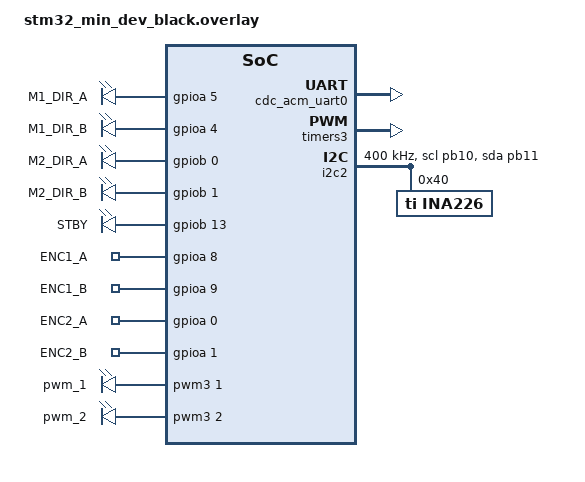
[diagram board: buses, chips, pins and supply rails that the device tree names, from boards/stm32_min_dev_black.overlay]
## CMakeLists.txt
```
# SPDX-License-Identifier: Apache-2.0

cmake_minimum_required(VERSION 3.20.0)

find_package(Zephyr REQUIRED HINTS $ENV{ZEPHYR_BASE})
project(amanita-controller)

# Include the USB common utilities (if needed)
include(${ZEPHYR_BASE}/samples/subsys/usb/common/common.cmake)

# Add the include path for Pid-C headers
target_include_directories(app PRIVATE ${CMAKE_CURRENT_SOURCE_DIR}/Pid-C/include)

# Add Pid-C source files to the app build
file(GLOB pid_c_sources ${CMAKE_CURRENT_SOURCE_DIR}/Pid-C/src/*.c)

# Collect all your application sources
file(GLOB app_sources src/*.c)

# Add all sources (app + Pid-C) to the target
target_sources(app PRIVATE ${app_sources} ${pid_c_sources})
```

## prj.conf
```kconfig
#
# Copyright (c) 2024 Branilson Luiz
# Author: Branilson Luiz
#
CONFIG_LOG=y
CONFIG_GPIO=y
CONFIG_PWM=y
CONFIG_I2C=y
CONFIG_SENSOR=y
CONFIG_SERIAL=y
CONFIG_PWM_LOG_LEVEL_DBG=y
CONFIG_USB_DEVICE_STACK=y
CONFIG_USB_DEVICE_PRODUCT="amanita-controller"
CONFIG_USB_DEVICE_MANUFACTURER="BL-LABS"
CONFIG_USB_DEVICE_PID=0x0001
CONFIG_USB_DEVICE_VID=4440
CONFIG_USB_CDC_ACM_LOG_LEVEL_ERR=y
CONFIG_USB_DRIVER_LOG_LEVEL_ERR=y
CONFIG_USB_DEVICE_LOG_LEVEL_ERR=y
CONFIG_SENSOR_LOG_LEVEL_DBG=y
CONFIG_UART_INTERRUPT_DRIVEN=y
CONFIG_UART_LINE_CTRL=y
CONFIG_UART_USE_RUNTIME_CONFIGURE=y
CONFIG_USB_DEVICE_INITIALIZE_AT_BOOT=n
CONFIG_CBPRINTF_FP_SUPPORT=y
```

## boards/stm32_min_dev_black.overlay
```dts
/*
 * Copyright (c) 2024 Branilson Luiz
 *
 * SPDX-License-Identifier: Apache-2.0
 */
#include <zephyr/dt-bindings/pinctrl/stm32-pinctrl.h>
#include <zephyr/dt-bindings/sensor/qdec_stm32.h>

/ {
	chosen {
		zephyr,console = &usart2; //cdc_acm_uart0
	};

	gpio_outputs {
		compatible = "gpio-leds";
		m1_dir_a: m1_dir_a {
			gpios = <&gpioa 5 GPIO_ACTIVE_HIGH>;
			label = "M1_DIR_A";
		};
		m1_dir_b: m1_dir_b {
			gpios = <&gpioa 4 GPIO_ACTIVE_HIGH>;
			label = "M1_DIR_B";
		};
		m2_dir_a: m2_dir_a {
			gpios = <&gpiob 0 GPIO_ACTIVE_HIGH>;
			label = "M2_DIR_A";
		};
		m2_dir_b: m2_dir_b {
			gpios = <&gpiob 1 GPIO_ACTIVE_HIGH>;
			label = "M2_DIR_B";
		};
		motors_stby: motors_stby {
			gpios = <&gpiob 13 GPIO_ACTIVE_HIGH>;
			label = "STBY";
		};
	};

	gpio_encoders {
		compatible = "gpio-keys";
		enc1_a: enc1_a {
			label = "ENC1_A";
			gpios = <&gpioa 8 0>;
		};
		enc1_b: enc1_b {
			label = "ENC1_B";
			gpios = <&gpioa 9 0>;
		};
		enc2_a: enc2_a {
			label = "ENC2_A";
			gpios = <&gpioa 0 0>;
		};
		enc2_b: enc2_b {
			label = "ENC2_B";
			gpios = <&gpioa 1 0>;
		};
	};

	pwm_motors {
		compatible = "pwm-leds";
		pwm_1: pwm_1 {
			pwms = <&pwm3 1 50000 PWM_POLARITY_NORMAL>; /*channel =1 / period =50000 ns / flags*/
		};
		pwm_2: pwm_2 {
			pwms = <&pwm3 2 50000 PWM_POLARITY_NORMAL>;
		};
	};

	aliases {
		pwm1 = &pwm_1;
		pwm2 = &pwm_2;
		led0 = &led;
		enc1a = &enc1_a;
		enc1b = &enc1_b;
		enc2a = &enc2_a;
		enc2b = &enc2_b;
		m1fwd = &m1_dir_a;
		m1bck = &m1_dir_b;
		m2fwd = &m2_dir_a;
		m2bck = &m2_dir_b;
		stby = &motors_stby;
	};
};

&zephyr_udc0 {
	cdc_acm_uart0: cdc_acm_uart0{
		compatible = "zephyr,cdc-acm-uart";
	};

};

&timers3{
	status = "okay";
	
	pwm3: pwm {
		status = "okay";
		pinctrl-0 = <&tim3_ch1_pwm_out_pa6 &tim3_ch2_pwm_out_pa7>;
		pinctrl-names = "default";
	};
};

&i2c2 {
	status = "okay";
	pinctrl-0 = <&i2c2_scl_pb10 &i2c2_sda_pb11>;
	pinctrl-names = "default";
	clock-frequency = <I2C_BITRATE_FAST>;

	ina226@40 {
		status = "okay";
		compatible = "ti,ina226";
		reg = <0x40>;
		rshunt-micro-ohms = <10000>;
		current-lsb-microamps = <250>;
	};
};

&usart1 {
	status = "disabled";
};

&usart3 {
	status = "disabled";
};

&i2c1 {
	status = "disabled";
};

&pwm1 {
	status = "disabled";
};

&adc1 {
	status = "disabled";
};

&spi1 {
	status = "disabled";
};

&spi2 {
	status = "disabled";
};
```

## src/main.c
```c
/*
 * Copyright (c) 2024 Branilson Luiz
 */

/**
 * @file
 * @brief Dual motor controller for small robots using DC brushed motors.
 *
 * This controller uses a protocol based on simple ASCII messags exchanged via USB USB CDC ACM class driver.
 * The received data is processed and responses are returned to the serial port.
 * See the runCommand() function for communication details.
 */

#include <stdio.h>
#include <string.h>
#include <stdlib.h>

#include <sample_usbd.h>
#include <zephyr/kernel.h>
#include <zephyr/device.h>
#include <zephyr/drivers/uart.h>
#include <zephyr/drivers/pwm.h>
#include <zephyr/drivers/sensor.h>
#include <zephyr/sys/cbprintf.h>
#include <zephyr/usb/usb_device.h>
#include <zephyr/usb/usbd.h>
#include <zephyr/logging/log.h>

#include "qdenc.h"
#include "hbridge.h"
#include "Pid.h"

#define PWM_PERIOD_NSEC 50000U	/* Period = 50us ==> Frequency = 20 kHz*/
#define CONTROL_PERIOD_MSEC 20U /* in milliseconds*/
#define HZ (1000U / CONTROL_PERIOD_MSEC)
#define STACK_SIZE 500U
#define PRIORITY 5U
#define SHORT_SLEEP_TIME_MS 50U
#define SLEEP_TIME_MS 1950U
#define MAX_PWM 1000
#define MIN_PWM (-1000)
#define KP 0.012F
#define KI 0.008F
#define KD 0.004F
#define MSG_SIZE 32
enum motors
{
	M1 = 0,
	M2
};

LOG_MODULE_REGISTER(amanita_controller, LOG_LEVEL_INF);

void blink_led();
int init_encoder_irqs();
void print_uart(char *buf);
void runCommand(char *args);
void update_motors(struct k_timer *tim);
static inline void print_baudrate(const struct device *dev);
void serial_cb(const struct device *dev, void *user_data);

const struct device *const uart_dev = DEVICE_DT_GET_ONE(zephyr_cdc_acm_uart);
static const struct gpio_dt_spec led = GPIO_DT_SPEC_GET(DT_ALIAS(led0), gpios);
static const struct gpio_dt_spec enc1a_spec = GPIO_DT_SPEC_GET_OR(DT_ALIAS(enc1a), gpios, {0});
static const struct gpio_dt_spec enc1b_spec = GPIO_DT_SPEC_GET_OR(DT_ALIAS(enc1b), gpios, {0});
static const struct gpio_dt_spec enc2a_spec = GPIO_DT_SPEC_GET_OR(DT_ALIAS(enc2a), gpios, {0});
static const struct gpio_dt_spec enc2b_spec = GPIO_DT_SPEC_GET_OR(DT_ALIAS(enc2b), gpios, {0});
static struct qdencoder enc1, enc2;
static struct gpio_callback enc1a_cb, enc1b_cb, enc2a_cb, enc2b_cb;
static const struct gpio_dt_spec m1_forward_spec = GPIO_DT_SPEC_GET(DT_ALIAS(m1fwd), gpios);
static const struct gpio_dt_spec m1_backward_spec = GPIO_DT_SPEC_GET(DT_ALIAS(m1bck), gpios);
static const struct gpio_dt_spec m2_forward_spec = GPIO_DT_SPEC_GET(DT_ALIAS(m2fwd), gpios);
static const struct gpio_dt_spec m2_backward_spec = GPIO_DT_SPEC_GET(DT_ALIAS(m2bck), gpios);
static struct Hbridge motor1, motor2;
static const struct pwm_dt_spec pwm1_dt_spec = PWM_DT_SPEC_GET(DT_ALIAS(pwm1));
static const struct pwm_dt_spec pwm2_dt_spec = PWM_DT_SPEC_GET(DT_ALIAS(pwm2));
const struct device *const ina_dev = DEVICE_DT_GET_ONE(ti_ina226);
struct sensor_value v_bus, power, current;
pidData_t control1, control2;
static bool is_control = false, speed_debug = false;
int reverse[] = {-1, 1}; /* -1 to reverse / 1 to direct */
int pwm_values[2], speeds[2], last_counts[2];
struct k_timer control_loop;
static char rx_buf[MSG_SIZE];
static int rx_buf_pos;

K_MSGQ_DEFINE(uart_msgq, MSG_SIZE, 10, 1);

K_THREAD_DEFINE(blink_led_thread, STACK_SIZE, blink_led, NULL, NULL, NULL,
				7, 0, 0);
K_TIMER_DEFINE(control_loop, update_motors, NULL);

int main(void)
{
	int ret;

	if (!device_is_ready(uart_dev))
	{
		LOG_ERR("CDC ACM device not ready");
		return 0;
	}

	ret = usb_enable(NULL);

	if (ret != 0)
	{
		LOG_ERR("Failed to enable USB");
		return 0;
	}

	if (!pwm_is_ready_dt(&pwm1_dt_spec))
	{
		LOG_ERR("Error: PWM device %s is not ready\n",
				pwm1_dt_spec.dev->name);
	}

	if (!pwm_is_ready_dt(&pwm2_dt_spec))
	{
		LOG_ERR("Error: PWM device %s is not ready\n",
				pwm2_dt_spec.dev->name);
	}

	if (hbridge_init(&motor1, &pwm1_dt_spec, &m1_forward_spec, &m1_backward_spec,
					 0, MAX_PWM, PWM_PERIOD_NSEC) < 0)
	{
		LOG_ERR("Failed to enable H Bridge #1");
	}

	if (hbridge_init(&motor2, &pwm2_dt_spec, &m2_forward_spec, &m2_backward_spec,
					 0, MAX_PWM, PWM_PERIOD_NSEC) < 0)
	{
		LOG_ERR("Failed to enable H Bridge #2");
	}

	if (!device_is_ready(ina_dev))
	{
		LOG_ERR("Device %s is not ready.\n", ina_dev->name);
	}

	init_encoder(&enc1, 1);
	init_encoder(&enc2, 1);
	init_encoder_irqs();
	Pid_Init(&control1, KP, KI, KD, PID_DIRECT, CONTROL_PERIOD_MSEC);
	Pid_Init(&control2, KP, KI, KD, PID_DIRECT, CONTROL_PERIOD_MSEC);
	Pid_SetOutputLimits(&control1, (double)MIN_PWM, (double)MAX_PWM);
	Pid_SetOutputLimits(&control2, (double)MIN_PWM, (double)MAX_PWM);
	k_timer_start(&control_loop, K_MSEC(CONTROL_PERIOD_MSEC), K_MSEC(CONTROL_PERIOD_MSEC));

	LOG_INF("Wait for DTR");
	while (true)
	{
		uint32_t dtr = 0U;

		uart_line_ctrl_get(uart_dev, UART_LINE_CTRL_DTR, &dtr);
		if (dtr)
		{
			break;
		}
		else
		{
			k_sleep(K_MSEC(100)); /* Give CPU resources to low priority threads. */
		}
	}
	LOG_INF("DTR set");

	ret = uart_irq_callback_user_data_set(uart_dev, serial_cb, NULL);
	if (ret < 0)
	{
		if (ret == -ENOTSUP)
		{
			LOG_ERR("Interrupt-driven UART API support not enabled\n");
		}
		else if (ret == -ENOSYS)
		{
			LOG_ERR("UART device does not support interrupt-driven API\n");
		}
		else
		{
			LOG_ERR("Error setting UART callback: %d\n", ret);
		}
		return 0;
	}
	uart_irq_rx_enable(uart_dev);

	LOG_INF("\n\r***  BL-Labs Amanita Controller running on %s ***\n\n", CONFIG_BOARD);
	print_baudrate(uart_dev);
	LOG_INF("\n\rEnter a command and press enter or h <enter> for help.\n");

	char argv[MSG_SIZE];

	while (k_msgq_get(&uart_msgq, &argv, K_FOREVER) == 0)
	{
		runCommand(argv);
	}
	return 0;
}

void runCommand(char *args)
{
	char *argv = args;
	bool valid = true;
	int argc = 0;
	char *cmd, *arg1, *arg2, *arg3;
	cmd = arg1 = arg2 = arg3 = NULL;
	char *token;
	char msg[MSG_SIZE];

	while ((token = strtok_r(argv, " ", &argv)))
	{
		if (argc == 0)
		{
			cmd = token;
			argc++;
		}
		else if (cmd[0] == 'o' || cmd[0] == 'm')
		{
			if (argc == 1)
				arg1 = token;
			else if (argc == 2)
				arg2 = token;
			else if (argc > 2)
				break;
			argc++;
		}
		else if (cmd[0] == 'u')
		{
			if (argc == 1)
				arg1 = token;
			else if (argc == 2)
				arg2 = token;
			else if (argc == 3)
				arg3 = token;
			else if (argc > 3)
				break;
			argc++;
		}
		else if (strpbrk(cmd, "hbersgdp"))
			break;
		else
		{
			valid = false;
			break;
		}
	}
	if ((cmd[0] == 'o' || cmd[0] == 'm') && argc < 3)
		valid = false;
	if (cmd[0] == 'u' && argc < 4)
		valid = false;

	if (!valid)
	{
		print_uart("ERR\n");
		return;
	}

	switch (cmd[0])
	{
	case 'h':
		print_uart("\r\t h <enter> to print this help.\r\n");
		print_uart("\t b <enter> to get baudrate.\r\n");
		print_uart("\t e <enter> to get encoder counts/s.\r\n");
		print_uart("\t r <enter> to reset encoder counts.\r\n");
		print_uart("\t s <enter> to get motor speeds in ticks/s.\r\n");
		print_uart("\t g <enter> to get PID controller gains.\r\n");
		print_uart("\t d <enter> to toggle speed debug flag.\r\n");
		print_uart("\t p <enter> to get power(W), Voltage(V), and Current(A).\r\n");
		print_uart("\t m nn nn <enter> to set control speeds in ticks/s.\r\n");
		print_uart("\t o nn nn <enter> to set pwm speeds.\r\n");
		print_uart("\t u nn nn nn <enter> to update PID gains.\r\n");
		print_uart("\t nn is an integer number.\r\n");
		break;
	case 'b':
		print_baudrate(uart_dev);
		break;
	case 'e':
		snprintf(msg, MSG_SIZE, "e %lli %lli\n", reverse[M1] * enc1.count, reverse[M2] * enc2.count);
		break;
	case 'r':
		init_encoder(&enc1, 1);
		init_encoder(&enc2, 1);
		snprintf(msg, MSG_SIZE, "e %lli %lli\n", reverse[M1] * enc1.count, reverse[M2] * enc2.count);
		break;
	case 's':
		snprintf(msg, MSG_SIZE, "s %i %i\n", speeds[M1], speeds[M2]);
		print_uart(msg);
		break;
	case 'd':
		speed_debug = !speed_debug;
		if (speed_debug)
			snprintf(msg, MSG_SIZE, "DBG\n");
		else
			snprintf(msg, MSG_SIZE, "NDBG\n");
		break;
	case 'g':
		snprintf(msg, MSG_SIZE, "g1 %f %f %f\n", Pid_GetKp(&control1), Pid_GetKi(&control1), Pid_GetKd(&control1));
		break;
	case 'm':
		int m1 = atoi(arg1), m2 = atoi(arg2);
		Pid_SetSetPoint(&control1, m1);
		Pid_SetSetPoint(&control2, m2);
		is_control = true;
		snprintf(msg, MSG_SIZE, "m %i %i\n", m1, m2);
		break;
	case 'o':
		int o1 = atoi(arg1), o2 = atoi(arg2);
		pwm_values[M1] = o1;
		pwm_values[M2] = o2;
		snprintf(msg, MSG_SIZE, "o %i %i\n", o1, o2);
		is_control = false;
		break;
	case 'p':
		if (sensor_sample_fetch(ina_dev))
			LOG_ERR("Could not fetch sensor data.\n");
		sensor_channel_get(ina_dev, SENSOR_CHAN_VOLTAGE, &v_bus);
		sensor_channel_get(ina_dev, SENSOR_CHAN_POWER, &power);
		sensor_channel_get(ina_dev, SENSOR_CHAN_CURRENT, &current);
		snprintf(msg, MSG_SIZE, "p %f %f %f\n", sensor_value_to_double(&v_bus),
				 sensor_value_to_double(&power),
				 sensor_value_to_double(&current));
		break;
	case 'u':
		double kp = atof(arg1), ki = atof(arg2), kd = atof(arg3);
		Pid_SetTunings(&control1, kp, ki, kd);
		Pid_SetTunings(&control2, kp, ki, kd);
		snprintf(msg, MSG_SIZE, "u %f %f %f\n", kp, ki, kd);
		break;
	default:
		print_uart("INV\n"); /* It shall never gets here. */
		break;
	}
	print_uart(msg);
}

static inline void print_baudrate(const struct device *dev)
{
	uint32_t baudrate;
	int ret;

	ret = uart_line_ctrl_get(dev, UART_LINE_CTRL_BAUD_RATE, &baudrate);
	if (ret)
	{
		LOG_WRN("Failed to get baudrate, ret code %d", ret);
	}
	else
	{
		LOG_INF("Baudrate %u", baudrate);
	}
}

void update_motors(struct k_timer *tim)
{
	char msg[MSG_SIZE];
	speeds[M1] = reverse[M1] * (enc1.count - last_counts[M1]) * HZ; /* speeds in ticks/sec */
	speeds[M2] = reverse[M2] * (enc2.count - last_counts[M2]) * HZ;
	last_counts[M1] = enc1.count;
	last_counts[M2] = enc2.count;
	if (speed_debug)
	{
		snprintf(msg, MSG_SIZE, "s %i %i\n", speeds[M1], speeds[M2]);
		print_uart(msg);
	}
	if (is_control)
	{
		Pid_Run(&control1, (float)speeds[M1]);
		Pid_Run(&control2, (float)speeds[M2]);
		run(&motor1, reverse[M1] * (int)control1.output);
		run(&motor2, reverse[M2] * (int)control2.output);
	}
	else
	{
		run(&motor1, reverse[M1] * pwm_values[M1]);
		run(&motor2, reverse[M2] * pwm_values[M2]);
	}
}

void blink_led()
{
	int ret;

	if (!device_is_ready(led.port))
	{
		return;
	}

	ret = gpio_pin_configure_dt(&led, GPIO_OUTPUT_ACTIVE);
	if (ret < 0)
	{
		return;
	}

	bool led_is_on = false;

	while (1)
	{
		ret = gpio_pin_set(led.port, led.pin, (int)led_is_on);
		led_is_on = !led_is_on;
		if (led_is_on)
		{
			k_msleep(SLEEP_TIME_MS);
		}
		else
		{
			k_msleep(SHORT_SLEEP_TIME_MS);
		}
	}
}

void enc1_callback(const struct device *dev, struct gpio_callback *cb, gpio_port_pins_t mask)
{
	compute_encoder(&enc1);
}

void enc2_callback(const struct device *dev, struct gpio_callback *cb, gpio_port_pins_t mask)
{
	compute_encoder(&enc2);
}

int init_encoder_irqs()
{
	int ret;
	enc1.channel_a = &enc1a_spec;
	enc1.channel_b = &enc1b_spec;
	enc2.channel_a = &enc2a_spec;
	enc2.channel_b = &enc2b_spec;

	ret = gpio_pin_configure_dt(&enc1a_spec, GPIO_INPUT | GPIO_PULL_UP);
	ret += gpio_pin_configure_dt(&enc1b_spec, GPIO_INPUT | GPIO_PULL_UP);
	ret += gpio_pin_configure_dt(&enc2a_spec, GPIO_INPUT | GPIO_PULL_UP);
	ret += gpio_pin_configure_dt(&enc2b_spec, GPIO_INPUT | GPIO_PULL_UP);
	ret += gpio_pin_interrupt_configure_dt(&enc1a_spec, GPIO_INT_EDGE_BOTH);
	ret += gpio_pin_interrupt_configure_dt(&enc1b_spec, GPIO_INT_EDGE_BOTH);
	ret += gpio_pin_interrupt_configure_dt(&enc2a_spec, GPIO_INT_EDGE_BOTH);
	ret += gpio_pin_interrupt_configure_dt(&enc2b_spec, GPIO_INT_EDGE_BOTH);
	gpio_init_callback(&enc1a_cb, enc1_callback, BIT(enc1a_spec.pin));
	gpio_init_callback(&enc1b_cb, enc1_callback, BIT(enc1b_spec.pin));
	gpio_init_callback(&enc2a_cb, enc2_callback, BIT(enc2a_spec.pin));
	gpio_init_callback(&enc2b_cb, enc2_callback, BIT(enc2b_spec.pin));
	ret += gpio_add_callback(enc1a_spec.port, &enc1a_cb);
	ret += gpio_add_callback(enc1b_spec.port, &enc1b_cb);
	ret += gpio_add_callback(enc2a_spec.port, &enc2a_cb);
	ret += gpio_add_callback(enc2b_spec.port, &enc2b_cb);
	return ret;
}

void print_uart(char *buf)
{
	int msg_len = strlen(buf);

	for (int i = 0; i < msg_len; i++)
	{
		uart_poll_out(uart_dev, buf[i]);
	}
}

void serial_cb(const struct device *dev, void *user_data)
{
	uint8_t c;

	if (!uart_irq_update(uart_dev))
	{
		return;
	}

	if (!uart_irq_rx_ready(uart_dev))
	{
		return;
	}

	/* read until FIFO empty */
	while (uart_fifo_read(uart_dev, &c, 1) == 1)
	{
		if ((c == '\n' || c == '\r') && rx_buf_pos > 0)
		{
			/* terminate string */
			rx_buf[rx_buf_pos] = '\0';

			/* if queue is full, message is silently dropped */
			k_msgq_put(&uart_msgq, &rx_buf, K_NO_WAIT);

			/* reset the buffer (it was copied to the msgq) */
			rx_buf_pos = 0;
		}
		else if (rx_buf_pos < (sizeof(rx_buf) - 1))
		{
			rx_buf[rx_buf_pos++] = c;
		}
		/* else: characters beyond buffer size are dropped */
	}
}
```

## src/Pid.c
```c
//!
//! @file 		Pid.c
//! @author 	Geoffrey Hunter <gbmhunter@gmail.com> (www.cladlabs.com)
//! @edited 	n/a
//! @date 		09/10/2012
//! @brief 		Generic PID controller designed for microcontrollers that supports multiple control loops.
//! @details
//!				See the README in the root dir for more info.

//===============================================================================================//
//=========================================== GUARDS ============================================//
//===============================================================================================//

#ifdef __cplusplus
extern "C" {
#endif

//===============================================================================================//
//========================================= INCLUDES ============================================//
//===============================================================================================//

// GCC
#include <math.h>
#include <stdio.h>
#include <stdlib.h>

// User
#include "Pid.h"

//===============================================================================================//
//================================== PRECOMPILER CHECKS =========================================//
//===============================================================================================//

#ifndef configPRINT_DEBUG_PID
	#warning configPRINT_DEBUG_PID is not defined.
#endif

//===============================================================================================//
//=================================== PRIVATE TYPEDEF's =========================================//
//===============================================================================================//

// none

//===============================================================================================//
//==================================== PRIVATE VARIABLES ========================================//
//===============================================================================================//

// none (all variables are held in structure passed into PID functions).

//===============================================================================================//
//====================================  FUNCTION PROTOTYPES =====================================//
//===============================================================================================//



//===============================================================================================//
//===================================== PUBLIC FUNCTIONS ========================================//
//===============================================================================================//

// See Doxygen documentation or function declarations in Pid.h for descriptions

void Pid_Init(
	pidData_t *pidData,
	double kp,
	double ki,
	double kd,
	ctrlDir_t controllerDir,
	uint32_t samplePeriodMs)
{

	Pid_SetOutputLimits(pidData, 0.0, 2000.0);		

    pidData->samplePeriodMs = samplePeriodMs;				// Default controller sample time is 0.1 seconds

    Pid_SetControllerDirection(pidData, controllerDir);
    Pid_SetTunings(pidData, kp, ki, kd);
	pidData->prevInput = 0;
	pidData->prevOutput = 0;
		
}
 

void Pid_Run(pidData_t *pidData, double input)
{
	// Compute all the working error variables
	//double input = *_input;
	
	pidData->error = pidData->setPoint - input;
	
	// Integral calcs
	
	pidData->iTerm += (pidData->zKi * pidData->error);
	// Perform min/max bound checking on integral term
	if(pidData->iTerm > pidData->outMax) 
	pidData->iTerm = pidData->outMax;
	else if(pidData->iTerm < pidData->outMin)
	pidData->iTerm = pidData->outMin;

	pidData->inputChange = (input - pidData->prevInput);
	pidData->dTerm = -pidData->zKd*pidData->inputChange;

	// Compute PID Output
	pidData->output = pidData->prevOutput + pidData->zKp*pidData->error + pidData->iTerm + pidData->dTerm;

	if(pidData->output > pidData->outMax) 
		pidData->output = pidData->outMax;
	else if(pidData->output < pidData->outMin)
		pidData->output = pidData->outMin;
	
	// Remember input value to next call
	pidData->prevInput = input;
	// Remember last output for next call
	pidData->prevOutput = pidData->output;
	  
}

void Pid_SetSetPoint(pidData_t *pidData, double setPoint)
{
	pidData->setPoint = setPoint;
}


void Pid_SetTunings(pidData_t *pidData, double kp, double ki, double kd)
{
   	if (kp<0 || ki<0 || kd<0) 
   		return;
 
 	pidData->actualKp = kp; 
	pidData->actualKi = ki;
	pidData->actualKd = kd;
   
   double sampleTimeInSec = ((double)pidData->samplePeriodMs)/1000.0;  
   
   // Calculate time-step-scaled PID terms
   pidData->zKp = kp;
   pidData->zKi = ki * sampleTimeInSec;
   pidData->zKd = kd / sampleTimeInSec;
 
  if(pidData->controllerDir == PID_REVERSE)
   {
      pidData->zKp = (0 - pidData->zKp);
      pidData->zKi = (0 - pidData->zKi);
      pidData->zKd = (0 - pidData->zKd);
   }
}


void Pid_SetSamplePeriod(pidData_t *pidData, uint32_t newSamplePeriodMs)
{
   if (newSamplePeriodMs > 0)
   {
      double ratio  = (double)newSamplePeriodMs
                      / (double)pidData->samplePeriodMs;
      pidData->zKi *= ratio;
      pidData->zKd /= ratio;
      pidData->samplePeriodMs = newSamplePeriodMs;
   }
}
 
void Pid_SetOutputLimits(pidData_t *pidData, double min, double max)
{
	if(min >= max) 
   		return;
   	pidData->outMin = min;
   	pidData->outMax = max;
 
}


void Pid_SetControllerDirection(pidData_t *pidData, ctrlDir_t controllerDir)
{
	if(controllerDir != pidData->controllerDir)
	{
   		// Invert control constants
		pidData->zKp = (0 - pidData->zKp);
    	pidData->zKi = (0 - pidData->zKi);
    	pidData->zKd = (0 - pidData->zKd);
	}   
   pidData->controllerDir = controllerDir;
}
 

double Pid_GetKp(pidData_t *pidData)
{ 
	return pidData->actualKp;
}


double Pid_GetKi(pidData_t *pidData)
{ 
	return pidData->actualKi;
}


double Pid_GetKd(pidData_t *pidData)
{ 
	return pidData->actualKd;
}


ctrlDir_t Pid_GetDirection(pidData_t *pidData)
{ 
	return pidData->controllerDir;
}


double Pid_GetError(pidData_t *pidData)
{
	return pidData->error;
}


double Pid_GetDTerm(pidData_t *pidData)
{
	return pidData->dTerm;
}


double Pid_GetInputChange(pidData_t *pidData)
{
	return pidData->inputChange;
}

#ifdef __cplusplus
} // extern "C" {
#endif

// EOF
```

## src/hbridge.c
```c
/*
 * Copyright (c) 2024 Branilson Luiz
 *
 * Library inspired on the L298N Arduino Library from Andrea Lombardo.
 * available at https://github.com/AndreaLombardo/L298N
 *
 */

#include "hbridge.h"
#include <zephyr/logging/log.h>

LOG_MODULE_DECLARE(amanita_controller);

int hbridge_init(struct Hbridge *motor, const struct pwm_dt_spec *pwm_spec,
                 const struct gpio_dt_spec *pin_forward, const struct gpio_dt_spec *pin_backward, 
                 int pwm_min, int pwm_max, int period)
{
    // if (!pwm_is_ready_dt(pwm_spec))
    // {
    //     LOG_ERR("Error: PWM device %s is not ready\n", pwm_spec.dev->name);
    //     return -1;
    // }
    motor->pwm_spec = pwm_spec;
    motor->max_pwm = pwm_max;
    motor->min_pwm = pwm_min;

    if (!device_is_ready(pin_forward->port))
    {
        LOG_ERR("Error: GPIO device %s is not ready\n", pin_forward->port->name);
        return -2;
    }
    motor->forward_pin = pin_forward;

    if (!device_is_ready(pin_backward->port))
    {
        LOG_ERR("Error: GPIO device %s is not ready\n", pin_backward->port->name);
        return -2;
    }
    motor->backward_pin = pin_backward;

    int ret;
    ret = gpio_pin_configure_dt(motor->forward_pin, GPIO_OUTPUT_INACTIVE);
    ret += gpio_pin_configure_dt(motor->backward_pin, GPIO_OUTPUT_INACTIVE);
    if (ret < 0)
    {
        LOG_ERR("Error: GPIO direction device configuration is not possible\n");
        return ret;
    }

    ret = gpio_pin_set(pin_forward->port, pin_forward->pin, 0);
    ret += gpio_pin_set(pin_backward->port, pin_backward->pin, 0);
    if (ret < 0)
    {
        LOG_ERR("Error: GPIO direction definition is not possible\n");
        return ret;
    }

    motor->pwm_period = period;
    stop(motor);
    motor->is_moving = false;
    motor->is_init = true;
    return 0;
}

int run(struct Hbridge *motor, int pwm)
{
    if (motor->is_init && pwm >= 0)
    {
        forward(motor, pwm);
        return 0;
    }
    if (motor->is_init && pwm < 0)
    {
        backward(motor, -pwm);
        return 0;
    }
    else
    {
        LOG_ERR("Error: motor not initiated. Run hbridge_init() before.\n");
        return -3;
    }
}

int forward(struct Hbridge *motor, int pwm)
{
    int ret;
    if (pwm < motor->min_pwm || pwm > motor->max_pwm)
    {
        LOG_ERR("Error: pwm value must be within %d and %d\n", motor->min_pwm, motor->max_pwm);
        return -4;
    }
    else
    {
        motor->dir = FORWARD;
        motor->is_moving = true;
        pwm_set_dt(motor->pwm_spec, motor->pwm_period, pwm * motor->pwm_period / 1000);
        ret = gpio_pin_set(motor->backward_pin->port, motor->backward_pin->pin, 0);
        ret += gpio_pin_set(motor->forward_pin->port, motor->forward_pin->pin, 1);
        if (ret < 0)
        {
            LOG_ERR("Error: GPIO direction definition is not possible\n");
        }
    }
    return ret;
}
int backward(struct Hbridge *motor, int pwm)
{
    int ret;
    if (pwm < motor->min_pwm || pwm > motor->max_pwm)
    {
        LOG_ERR("Error: pwm value must be within %d and %d\n", motor->min_pwm, motor->max_pwm);
        return -4;
    }
    else
    {
        motor->dir = BACKWARD;
        motor->is_moving = true;
        pwm_set_dt(motor->pwm_spec, motor->pwm_period, pwm * motor->pwm_period / 1000);
        ret = gpio_pin_set(motor->forward_pin->port, motor->forward_pin->pin, 0);
        ret += gpio_pin_set(motor->backward_pin->port, motor->backward_pin->pin, 1);
        if (ret < 0)
        {
            LOG_ERR("Error: GPIO direction definition is not possible\n");
        }
    }
    return ret;
}
void stop(struct Hbridge *motor)
{
    int ret;
    motor->dir = STOP;
    motor->is_moving = false;
    pwm_set_dt(motor->pwm_spec, motor->pwm_period, 0);
    ret = gpio_pin_set(motor->forward_pin->port, motor->forward_pin->pin, 0);
    ret += gpio_pin_set(motor->backward_pin->port, motor->backward_pin->pin, 0);
    if (ret < 0)
    {
        LOG_ERR("Error: GPIO direction definition is not possible\n");
    }
}
```

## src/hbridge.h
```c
/*
 * Copyright (c) 2024 Branilson Luiz
 *
 * Inspired on the L298N Arduino Library from Andrea Lombardo.
 * available at https://github.com/AndreaLombardo/L298N
 *
 */

#ifndef __HBRIDGE__H
#define __HBRIDGE__H

#include <zephyr/drivers/gpio.h>
#include <zephyr/drivers/pwm.h>
#include <zephyr/device.h>

enum Direction
{
  STOP = -1,
  FORWARD = 0,
  BACKWARD = 1
};

struct Hbridge
{
  const struct pwm_dt_spec *pwm_spec;
  const struct gpio_dt_spec *forward_pin;
  const struct gpio_dt_spec *backward_pin;
  bool is_moving;
  bool is_init;
  enum Direction dir;
  int pwm_period;
  int min_pwm;
  int max_pwm;
};

int hbridge_init(struct Hbridge *motor, const struct pwm_dt_spec *pwm_spec,
                 const struct gpio_dt_spec *pin_forward, const struct gpio_dt_spec *pin_backward, 
                 int pwm_min, int pwm_max, int period);
int run(struct Hbridge *motor, int pwm);
int forward(struct Hbridge *motor, int pwm);
int backward(struct Hbridge *motor, int pwm);
void stop(struct Hbridge *motor);

#endif /* __HBRIDGE__H */
```

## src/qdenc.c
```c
/*
 * Copyright (c) 2024 Branilson Luiz
 *
 */

#include "qdenc.h"
#include <zephyr/kernel.h>

void compute_encoder(struct qdencoder *enc)
{
  static const int QEM [16] = {0, -1, 1, 2, 1, 0, 2, -1, -1, 2, 0, 1, 2, 1, -1, 0};
  enc->old_state = enc->state;
  enc->last_time = enc->this_time;
  enc->this_time = k_uptime_get();
  enc->state = 2 * gpio_pin_get(enc->channel_b->port, enc->channel_b->pin) +
                   gpio_pin_get(enc->channel_a->port, enc->channel_a->pin);
  enc->direction = QEM[4 * enc->old_state + enc->state];

  if (enc->direction == 1 || enc->direction == -1) 
  {
    enc->count = enc->count + enc->direction;
  }
}

void init_encoder(struct qdencoder *enc, int64_t displacement)
{
    enc->tick_displacement = displacement;
    enc->count = 0;
}

int64_t get_count(struct qdencoder *enc)
{
    return enc->count;
}

int64_t get_displacement(struct qdencoder *enc)
{
    return (enc->count * enc->tick_displacement);
}
```

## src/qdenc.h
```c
/*
 * Copyright (c) 2024 Branilson Luiz
 * 
 * Library inspired in the tutorial "How to use a quadrature encoder" from sparkfun.com.
 * 
 */

#ifndef __QDENC__H
#define __QDENC__H

#include <zephyr/drivers/gpio.h>
#include <stdint.h>

struct qdencoder
{
  const struct gpio_dt_spec *channel_a;
  const struct gpio_dt_spec *channel_b;
  volatile int state;
  volatile int old_state;
  volatile int64_t last_time;
  volatile int64_t this_time;
  int64_t tick_displacement;
  volatile int direction;
  volatile int64_t count;
};

void compute_encoder(struct qdencoder *enc);
void init_encoder(struct qdencoder *enc, int64_t displacement);
int64_t get_displacement(struct qdencoder *enc);
int64_t get_count(struct qdencoder *enc);

#endif /* __QDENC__H */
```
